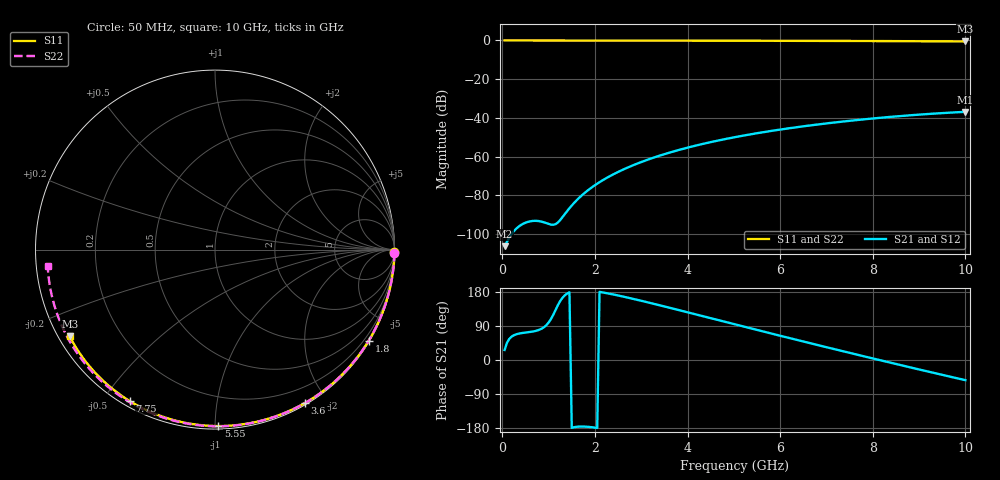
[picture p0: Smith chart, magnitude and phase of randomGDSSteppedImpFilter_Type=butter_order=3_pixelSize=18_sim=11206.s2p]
! freq	dB(S11)	phase(S11)	dB(S12)	phase(S12)
!  dB(S21)	phase(S21)	dB(S22)	phase(S22)
!S-par simulation data
#  GHz  S  DB  R 50
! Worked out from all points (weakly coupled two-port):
!   200 points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, 50 MHz to 10 GHz, reference 50 ohm
!   highest |S21| = -36.89 dB at 10 GHz (marker M1); lowest = -106.3 dB at 50 MHz (marker M2)
!   lowest |S11| = -0.5 dB at 10 GHz (marker M3), VSWR 34.06, Z = 1.58 - j13.8 ohm
!   |S11| at or under -10 dB: nowhere
!   |S22| runs from -0.6 to 0.0 dB; largest |S21 - S12| = 0
!   S11 on the Smith chart (normalised r, x): 50 MHz: open; 1.8 GHz: 0.03, -3.65; 3.6 GHz: 0.02, -1.74; 5.55 GHz: 0.02, -1.02; 7.75 GHz: 0.02, -0.59; 10 GHz: 0.03, -0.28
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0.05  -0.00 -0.9  -106.33 26.4  -106.33 26.4  -0.00 -1.0
0.45  -0.01 -7.8  -94.75 71.6  -94.75 71.6  -0.01 -9.1
0.85  -0.02 -14.6  -93.65 82.7  -93.65 82.7  -0.02 -17.0
1.25  -0.03 -21.4  -92.84 155.6  -92.84 155.6  -0.03 -24.9
1.7  -0.04 -29.0  -80.43 -175.6  -80.43 -175.6  -0.04 -33.6
1.75  -0.04 -29.8  -79.38 -175.6  -79.38 -175.6  -0.04 -34.6
1.8  -0.04 -30.6  -78.38 -175.9  -78.38 -175.9  -0.05 -35.6
2.1  -0.05 -35.6  -73.25 179.8  -73.25 179.8  -0.05 -41.3
2.3  -0.05 -38.9  -70.44 175.3  -70.44 175.3  -0.06 -45.1
2.5  -0.05 -42.2  -67.97 170.3  -67.97 170.3  -0.06 -48.9
2.9  -0.06 -48.6  -63.77 159.2  -63.77 159.2  -0.07 -56.4
3.4  -0.08 -56.6  -59.52 144.4  -59.52 144.4  -0.09 -65.5
3.6  -0.08 -59.7  -58.05 138.3  -58.05 138.3  -0.09 -69.1
4.3  -0.10 -70.5  -53.64 116.6  -53.64 116.6  -0.12 -81.5
5.05  -0.13 -81.7  -49.86 93.3  -49.86 93.3  -0.15 -94.3
5.55  -0.15 -88.9  -47.74 77.8  -47.74 77.8  -0.17 -102.6
6.1  -0.17 -96.7  -45.70 60.9  -45.70 60.9  -0.20 -111.6
6.7  -0.21 -105.1  -43.76 42.7  -43.76 42.7  -0.24 -121.3
7.75  -0.28 -119.3  -40.91 11.5  -40.91 11.5  -0.32 -138.0
8.35  -0.33 -127.3  -39.57 -6.2  -39.57 -6.2  -0.38 -147.5
9.2  -0.41 -138.5  -38.00 -30.7  -38.00 -30.7  -0.47 -161.2
10  -0.51 -149.1  -36.89 -53.2  -36.89 -53.2  -0.57 -174.5
